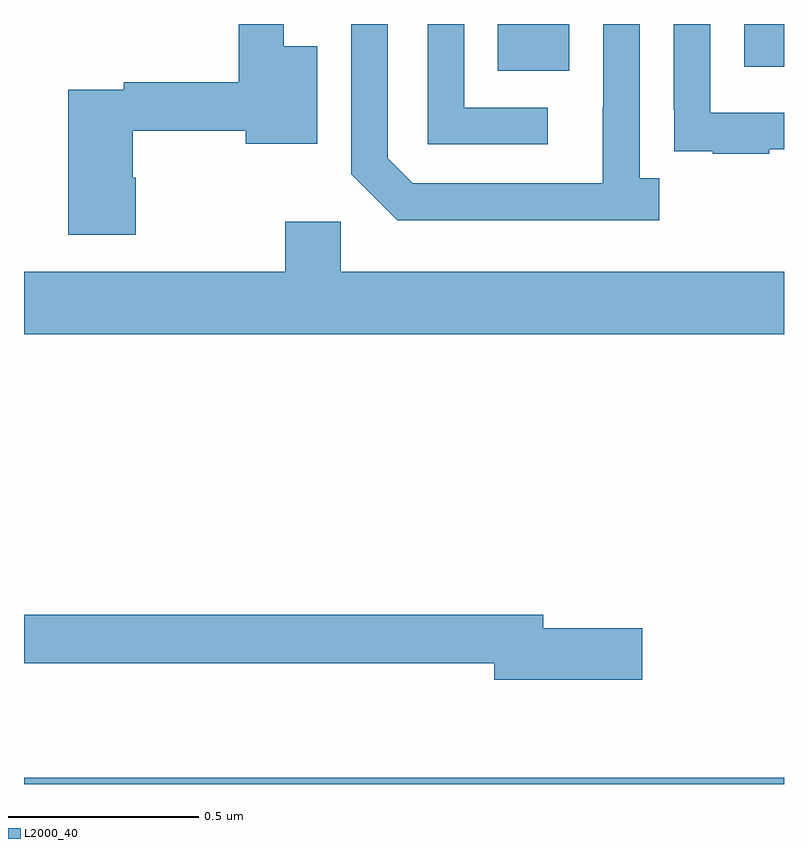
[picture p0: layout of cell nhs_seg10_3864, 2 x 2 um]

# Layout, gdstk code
import gdstk
lib = gdstk.Library(unit=1e-6, precision=1e-09)
def R(c, l, rs):  # rectangles x0, y0, x1, y1
    for r in rs: c.add(gdstk.rectangle(r[:2], r[2:], *l))
def P(c, l, *ps):  # polygons
    for p in ps: c.add(gdstk.Polygon(p, *l))
L2000_40 = (2000, 40)

nhs_seg10_3864 = lib.new_cell('nhs_seg10_3864')
R(nhs_seg10_3864, L2000_40, [(159,1264.5,161,1264.516), (160.247,1266.377,160.435,1266.5), (160.895,1266.387,161,1266.5)])
P(nhs_seg10_3864, L2000_40, [(159.294,1266.096),(159.286,1266.096),(159.286,1266.219),(159.584,1266.219),(159.584,1266.185),(159.772,1266.185),(159.772,1266.442),(159.683,1266.442),(159.683,1266.5),(159.565,1266.5),(159.565,1266.347),(159.262,1266.347),(159.262,1266.327),(159.116,1266.327),(159.116,1265.946),(159.294,1265.946)],
  [(160.672,1266.094),(160.62,1266.094),(160.62,1266.5),(160.524,1266.5),(160.524,1266.281),(160.523,1266.281),(160.523,1266.081),(160.023,1266.081),(159.957,1266.147),(159.957,1266.5),(159.861,1266.5),(159.861,1266.105),(159.982,1265.984),(160.672,1265.984)],
  [(160.378,1266.279),(160.158,1266.279),(160.158,1266.5),(160.062,1266.5),(160.062,1266.183),(160.378,1266.183)],
  [(160.961,1266.171),(161,1266.171),(161,1266.267),(160.806,1266.267),(160.806,1266.5),(160.71,1266.5),(160.71,1266.274),(160.711,1266.274),(160.711,1266.165),(160.813,1266.165),(160.813,1266.159),(160.961,1266.159)],
  [(161,1265.848),(159.834,1265.848),(159.834,1265.98),(159.688,1265.98),(159.688,1265.848),(159,1265.848),(159,1265.684),(161,1265.684)],
  [(160.627,1264.91),(160.366,1264.91),(160.366,1264.946),(159,1264.946),(159,1264.818),(160.238,1264.818),(160.238,1264.775),(160.627,1264.775)])

lib.write_gds('nhs_seg10_3864.gds')
